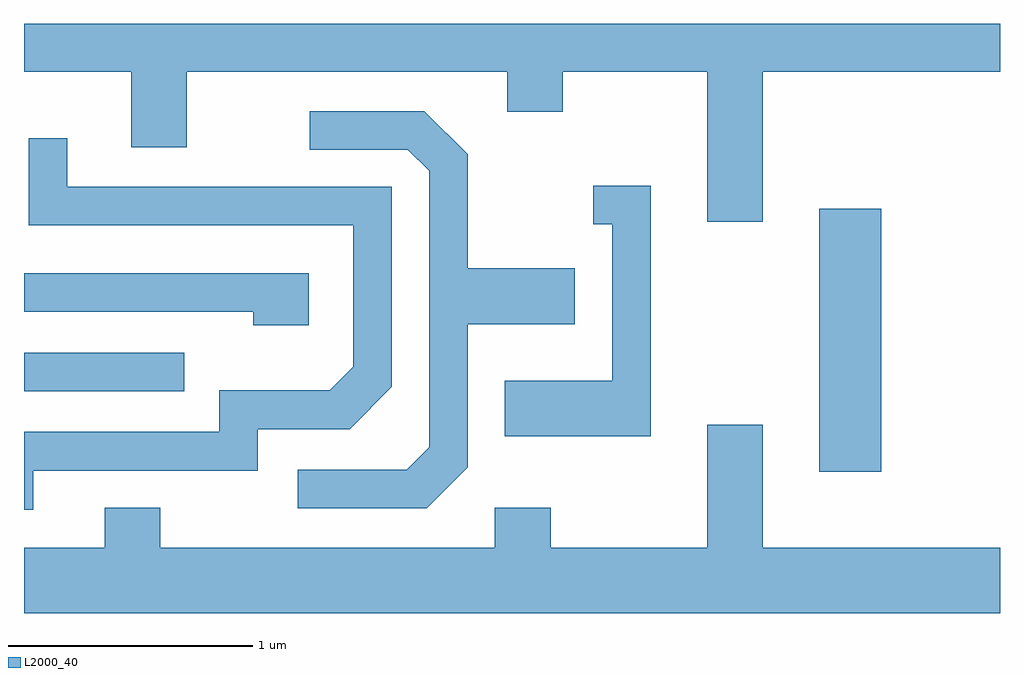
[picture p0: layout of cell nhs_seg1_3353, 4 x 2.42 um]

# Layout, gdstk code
import gdstk
lib = gdstk.Library(unit=1e-6, precision=1e-09)
def R(c, l, rs):  # rectangles x0, y0, x1, y1
    for r in rs: c.add(gdstk.rectangle(r[:2], r[2:], *l))
def P(c, l, *ps):  # polygons
    for p in ps: c.add(gdstk.Polygon(p, *l))
L2000_40 = (2000, 40)

nhs_seg1_3353 = lib.new_cell('nhs_seg1_3353')
R(nhs_seg1_3353, L2000_40, [(288.871,957.876,289.124,958.954), (285.611,958.206,286.268,958.364)])
P(nhs_seg1_3353, L2000_40, [(288.639,959.516),(289.611,959.516),(289.611,959.712),(285.611,959.712),(285.611,959.516),(286.051,959.516),(286.051,959.206),(286.279,959.206),(286.279,959.516),(287.591,959.516),(287.591,959.351),(287.819,959.351),(287.819,959.516),(288.411,959.516),(288.411,958.901),(288.639,958.901)],
  [(287.429,957.894),(287.429,958.481),(287.869,958.481),(287.869,958.709),(287.429,958.709),(287.429,959.177),(287.252,959.354),(286.783,959.354),(286.783,959.196),(287.184,959.196),(287.271,959.109),(287.271,957.977),(287.179,957.884),(286.733,957.884),(286.733,957.726),(287.262,957.726)],
  [(285.649,957.881),(286.569,957.881),(286.569,958.051),(286.947,958.051),(287.119,958.224),(287.119,959.044),(285.789,959.044),(285.789,959.243),(285.631,959.243),(285.631,958.886),(286.961,958.886),(286.961,958.307),(286.864,958.209),(286.411,958.209),(286.411,958.039),(285.611,958.039),(285.611,957.721),(285.649,957.721)],
  [(288.179,959.049),(287.943,959.049),(287.943,958.891),(288.021,958.891),(288.021,958.249),(287.581,958.249),(287.581,958.021),(288.179,958.021)],
  [(286.779,958.689),(285.611,958.689),(285.611,958.531),(286.551,958.531),(286.551,958.476),(286.779,958.476)],
  [(289.611,957.564),(288.639,957.564),(288.639,958.069),(288.411,958.069),(288.411,957.564),(287.769,957.564),(287.769,957.729),(287.541,957.729),(287.541,957.564),(286.169,957.564),(286.169,957.729),(285.941,957.729),(285.941,957.564),(285.611,957.564),(285.611,957.296),(289.611,957.296)])

lib.write_gds('nhs_seg1_3353.gds')
